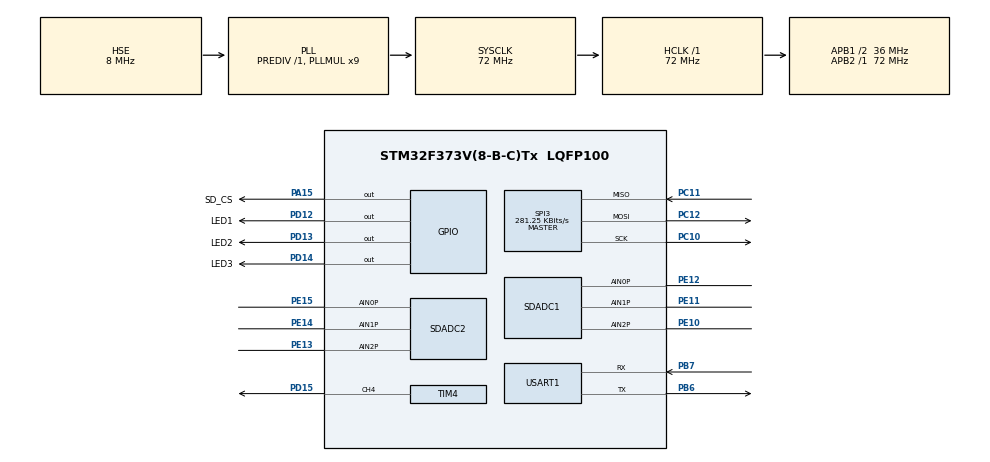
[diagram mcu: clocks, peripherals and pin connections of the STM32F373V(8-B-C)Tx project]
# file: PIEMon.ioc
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Dma.Request0=SDADC1
Dma.Request1=SDADC2
Dma.SDADC1.0.Direction=DMA_PERIPH_TO_MEMORY
Dma.SDADC1.0.Instance=DMA2_Channel3
Dma.SDADC1.0.MemDataAlignment=DMA_MDATAALIGN_HALFWORD
Dma.SDADC1.0.MemInc=DMA_MINC_ENABLE
Dma.SDADC1.0.Mode=DMA_CIRCULAR
Dma.SDADC1.0.PeriphDataAlignment=DMA_PDATAALIGN_HALFWORD
Dma.SDADC1.0.PeriphInc=DMA_PINC_DISABLE
Dma.SDADC1.0.Priority=DMA_PRIORITY_HIGH
Dma.SDADC2.1.Direction=DMA_PERIPH_TO_MEMORY
Dma.SDADC2.1.Instance=DMA2_Channel4
Dma.SDADC2.1.MemDataAlignment=DMA_MDATAALIGN_HALFWORD
Dma.SDADC2.1.MemInc=DMA_MINC_ENABLE
Dma.SDADC2.1.Mode=DMA_CIRCULAR
Dma.SDADC2.1.PeriphDataAlignment=DMA_PDATAALIGN_HALFWORD
Dma.SDADC2.1.PeriphInc=DMA_PINC_DISABLE
Dma.SDADC2.1.Priority=DMA_PRIORITY_LOW
Mcu.Family=STM32F3
Mcu.Name=STM32F373V(8-B-C)Tx
Mcu.Package=LQFP100
NVIC.DMA2_Channel3_IRQn=true\:0\:0\:false\:false\:true\:false\:true
NVIC.DMA2_Channel4_IRQn=true\:0\:0\:false\:false\:true\:false\:true
NVIC.PriorityGroup=NVIC_PRIORITYGROUP_4
PA13.Mode=Serial_Wire
PA13.Signal=SYS_JTMS-SWDIO
PA14.Mode=Serial_Wire
PA14.Signal=SYS_JTCK-SWCLK
PA15.GPIO_Label=SD_CS
PA15.Signal=GPIO_Output
PB6.Mode=Asynchronous
PB6.Signal=USART1_TX
PB7.Mode=Asynchronous
PB7.Signal=USART1_RX
PC10.Mode=Full_Duplex_Master
PC10.Signal=SPI3_SCK
PC11.Mode=Full_Duplex_Master
PC11.Signal=SPI3_MISO
PC12.Mode=Full_Duplex_Master
PC12.Signal=SPI3_MOSI
PC14-OSC32_IN.Mode=LSE-External-Oscillator
PC14-OSC32_IN.Signal=RCC_OSC32_IN
PC15-OSC32_OUT.Mode=LSE-External-Oscillator
PC15-OSC32_OUT.Signal=RCC_OSC32_OUT
PD12.GPIO_Label=LED1
PD12.Signal=GPIO_Output
PD13.GPIO_Label=LED2
PD13.Signal=GPIO_Output
PD14.GPIO_Label=LED3
PD14.Signal=GPIO_Output
PD15.Signal=S_TIM4_CH4
PE10.Mode=IN2-Single-Ended zero reference
PE10.Signal=SDADC1_AIN2P
PE11.Mode=IN1-Single-Ended zero reference
PE11.Signal=SDADC1_AIN1P
PE12.Mode=IN0-Single-Ended zero reference
PE12.Signal=SDADC1_AIN0P
PE13.Mode=IN2-Single-Ended zero reference
PE13.Signal=SDADC2_AIN2P
PE14.Mode=IN1-Single-Ended zero reference
PE14.Signal=SDADC2_AIN1P
PE15.Mode=IN0-Single-Ended zero reference
PE15.Signal=SDADC2_AIN0P
PF0-OSC_IN.Mode=HSE-External-Oscillator
PF0-OSC_IN.Signal=RCC_OSC_IN
PF1-OSC_OUT.Mode=HSE-External-Oscillator
PF1-OSC_OUT.Signal=RCC_OSC_OUT
ProjectManager.HeapSize=0x200
ProjectManager.StackSize=0x400
ProjectManager.TargetToolchain=STM32CubeIDE
RCC.AHBFreq_Value=72000000
RCC.APB1CLKDivider=RCC_HCLK_DIV2
RCC.APB1Freq_Value=36000000
RCC.APB1TimFreq_Value=72000000
RCC.APB2Freq_Value=72000000
RCC.APB2TimFreq_Value=72000000
RCC.CortexFreq_Value=72000000
RCC.HCLKFreq_Value=72000000
RCC.HSE_VALUE=8000000
RCC.HSI_VALUE=8000000
RCC.PLLMUL=RCC_PLL_MUL9
RCC.PLLSourceVirtual=RCC_PLLSOURCE_HSE
RCC.SDADCPresc=RCC_SDADCSYSCLK_DIV12
RCC.SYSCLKFreq_VALUE=72000000
RCC.SYSCLKSource=RCC_SYSCLKSOURCE_PLLCLK
RCC.USBFreq_Value=72000000
SDADC1.EnableInjectedConversion=ENABLE
SDADC1.InjNumberOfConversion=3
SDADC1.InjectedChannel-1\#ChannelInjectedConversion=SDADC_CHANNEL_0
SDADC1.InjectedChannel-4\#ChannelInjectedConversion=SDADC_CHANNEL_1
SDADC1.InjectedChannel-5\#ChannelInjectedConversion=SDADC_CHANNEL_2
SDADC1.InjectedChannelsSelection=SDADC_CHANNEL_0|SDADC_CHANNEL_1|SDADC_CHANNEL_2
SDADC1.InjectedConfIndex-1\#ChannelInjectedConversion=SDADC_CONF_INDEX_0
SDADC1.InjectedConfIndex-4\#ChannelInjectedConversion=SDADC_CONF_INDEX_0
SDADC1.InjectedConfIndex-5\#ChannelInjectedConversion=SDADC_CONF_INDEX_0
SDADC1.InjectedContinuousMode=SDADC_CONTINUOUS_CONV_OFF
SDADC1.InjectedExtTrigger=SDADC_EXT_TRIG_TIM19_CC2
SDADC1.InjectedRank-1\#ChannelInjectedConversion=1
SDADC1.InjectedRank-4\#ChannelInjectedConversion=2
SDADC1.InjectedRank-5\#ChannelInjectedConversion=3
SDADC1.InjectedTrigger=SDADC_EXTERNAL_TRIGGER
SDADC1.InputMode0=SDADC_INPUT_MODE_SE_ZERO_REFERENCE
SDADC1.NbrOfConversionFlag=1
SDADC2.EnableInjectedConversion=ENABLE
SDADC2.InjNumberOfConversion=3
SDADC2.InjectedChannel-1\#ChannelInjectedConversion=SDADC_CHANNEL_0
SDADC2.InjectedChannel-2\#ChannelInjectedConversion=SDADC_CHANNEL_1
SDADC2.InjectedChannel-3\#ChannelInjectedConversion=SDADC_CHANNEL_2
SDADC2.InjectedChannelsSelection=SDADC_CHANNEL_0|SDADC_CHANNEL_1|SDADC_CHANNEL_2
SDADC2.InjectedConfIndex-1\#ChannelInjectedConversion=SDADC_CONF_INDEX_0
SDADC2.InjectedConfIndex-2\#ChannelInjectedConversion=SDADC_CONF_INDEX_0
SDADC2.InjectedConfIndex-3\#ChannelInjectedConversion=SDADC_CONF_INDEX_0
SDADC2.InjectedExtTrigger=SDADC_EXT_TRIG_TIM19_CC3
SDADC2.InjectedRank-1\#ChannelInjectedConversion=1
SDADC2.InjectedRank-2\#ChannelInjectedConversion=2
SDADC2.InjectedRank-3\#ChannelInjectedConversion=3
SDADC2.InjectedTrigger=SDADC_EXTERNAL_TRIGGER
SDADC2.InputMode0=SDADC_INPUT_MODE_SE_ZERO_REFERENCE
SDADC2.NbrOfConversionFlag=1
SH.S_TIM4_CH4.0=TIM4_CH4,PWM Generation4 CH4
SPI3.BaudRatePrescaler=SPI_BAUDRATEPRESCALER_128
SPI3.CalculateBaudRate=281.25 KBits/s
SPI3.DataSize=SPI_DATASIZE_8BIT
SPI3.Direction=SPI_DIRECTION_2LINES
SPI3.Mode=SPI_MODE_MASTER
SPI3.VirtualType=VM_MASTER
TIM19.Channel-Output\ Compare2\ No\ Output=TIM_CHANNEL_2
TIM19.Channel-Output\ Compare3\ No\ Output=TIM_CHANNEL_3
TIM19.OCMode_2=TIM_OCMODE_TOGGLE
TIM19.OCMode_3=TIM_OCMODE_TOGGLE
TIM19.Period=14400
TIM19.Prescaler=0
TIM19.Pulse-Output\ Compare2\ No\ Output=1
TIM19.Pulse-Output\ Compare3\ No\ Output=1
TIM4.Channel-PWM\ Generation4\ CH4=TIM_CHANNEL_4
TIM4.Period=10000
TIM4.Prescaler=7200
TIM4.Pulse-PWM\ Generation4\ CH4=5000
USART1.VirtualMode-Asynchronous=VM_ASYNC
VP_FATFS_VS_Generic.Mode=User_defined
VP_SDADC1_CONF0.Mode=ConfigZero
VP_SDADC2_CONF0.Mode=ConfigZero
VP_TIM19_VS_ClockSourceINT.Mode=Internal
VP_TIM19_VS_no_output2.Mode=Output Compare2 No Output
VP_TIM19_VS_no_output3.Mode=Output Compare3 No Output
VP_TIM4_VS_ClockSourceINT.Mode=Internal
board=custom

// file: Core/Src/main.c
/* USER CODE BEGIN Header */
/**
  ******************************************************************************
  * @file           : main.c
  * @brief          : Main program body
  ******************************************************************************
  * @attention
  *
  * <h2><center>&copy; Copyright (c) 2021 STMicroelectronics.
  * All rights reserved.</center></h2>
  *
  * This software component is licensed by ST under BSD 3-Clause license,
  * the "License"; You may not use this file except in compliance with the
  * License. You may obtain a copy of the License at:
  *                        opensource.org/licenses/BSD-3-Clause
  *
  ******************************************************************************
  */
/* USER CODE END Header */
#include "main.h"
#include "dma.h"
#include "fatfs.h"
#include "sdadc.h"
#include "spi.h"
#include "tim.h"
#include "usart.h"
#include "gpio.h"

/* USER CODE BEGIN Includes */
#include "math.h"
#include "stdbool.h"
#include "string.h"
#include <stdio.h>
#include <stdarg.h> //for va_list var arg functions
/* USER CODE END Includes */

/* USER CODE BEGIN PD */

#define ADCTIMERFREQUENCY 72000000 // Clock speed of the STM32F373 in Hz
#define SUPPLYFREQUENCY 50 // Frequency of the supply in Hz
#define PLLLOCKCOUNT 20 // Number of samples for PLL to be considered locked ~ 4 seconds. N.B--Less than 255
#define PIDKP 3 // PID KP
#define PIDKI 1 // PID KI
#define PIDKD 0 // PID KD
#define ADCOFFSET 32768 // Half of the 16 bits range that the sdadc has
#define ADCVOLTS 3.3
#define LOOPCYCLES 250 // Cycles to complete before sending data
#define VCAL 271 // Calculated value is 2 710 000 / 10 000 = 271 for resistor divider
#define ICAL 90.65 // Calculated value is 100A:0.1A for transformer / 11 Ohms for resistor = 91

/* USER CODE END PD */

/* USER CODE BEGIN PM */

#define constrain(amt,low,high) ((amt)<(low)?(low):((amt)>(high)?(high):(amt)))

//#define max(a,b) \
//   ({ __typeof__ (a) _a = (a); \
//       __typeof__ (b) _b = (b); \
//     _a > _b ? _a : _b; })
//#define min(a,b) \
//   ({ __typeof__ (a) _a = (a); \
//       __typeof__ (b) _b = (b); \
//     _a < _b ? _a : _b; })

// Calculated constants (at compile time)
#define PLLTIMERAVG (ADCTIMERFREQUENCY/(SAMPLESPERCYCLE*SUPPLYFREQUENCY*2)) // The Timer19 reload value, the two is because the output compare toggles
#define PLLTIMERMIN (PLLTIMERAVG*0.8) // Minimum Timer 1 value to start next set of measurements
#define PLLTIMERMAX (PLLTIMERAVG*1.2) // Minimum Timer 1 value to start next set of measurements
#define PLLLOCKRANGE 0.5 // The PLL needs to be within 0.5 samples from the setpoint (+/- 1% timing accuracy @ 50 samples per cycle)

#define PIDK1 (PIDKP + PIDKI + PIDKD) // PID K1
#define PIDK2 (-1*PIDKP - 2*PIDKD) // PID K2
#define PIDK3 (PIDKD) // PID K3

#define VRATIO ((VCAL*ADCVOLTS)/(2^16))
#define IRATIO ((ICAL*ADCVOLTS)/(2^16))
#define LOOPSAMPLES (LOOPCYCLES*SAMPLESPERCYCLE) // Number of samples per transmit cycle.

/* USER CODE END PM */

/* USER CODE BEGIN PV */

typedef struct channel_
{
    int64_t sum_P_import; // In W
    int64_t sum_P_export; // In W
    uint64_t sum_V_sq; // In V2
    uint64_t sum_I_sq; // In A2
    int32_t sum_V; // In V
    int32_t sum_I; // In A
    uint32_t sum_timer; // In counts
} channel_t;

typedef struct vipf_
{
    float Vrms; // In V
    float Irms; // In A
    float realpower_import; // In W
    float realpower_export; // In W
    float apparentpower; // In VA
    float power_factor; // Factor
    float frequency; // In Hz
    float time; // In s
    float units_import; // In Wh
    float units_export; // In Wh
    float import_counter; // In Wh
    float export_counter; // In Wh

} vipf_t;

channel_t channels[NUMCHANNELS];
channel_t channels_cycle[NUMCHANNELS];
channel_t channels_loop[NUMCHANNELS];
vipf_t channels_vipf[NUMCHANNELS];

uint8_t pllunlocked = PLLLOCKCOUNT;
uint16_t timercount = PLLTIMERAVG;
uint16_t prevtimercount = PLLTIMERAVG;
bool newcycle = false;
uint16_t cyclecount = 0;
uint8_t pwm_mode = 0; // 0 for pwm, 1 for

/* USER CODE END PV */

void SystemClock_Config(void);

/* USER CODE BEGIN 0 */
void uartprintf(const char *fmt, ...) {
    static char buffer[256];
    va_list args;
    va_start(args, fmt);
    vsnprintf(buffer, sizeof(buffer), fmt, args);
    va_end(args);

    int len = strlen(buffer);
    HAL_UART_Transmit(&huart1, (uint8_t*)buffer, len, -1);

}

void pllcalcs(uint16_t offset){

    // PID Controller for the phase locked loop, only update on completion of cycle
    // This is first so that the timer can be updated as soon as possible
    static float e0, e1, e2;
    if (offset == SDADC1_DMA_BUFFSIZE/2){
        e2 = e1;
        e1 = e0;
        int32_t last_reading = sdadc1_dma_buff[SDADC1_DMA_BUFFSIZE-1];
        int32_t second_last_reading = sdadc1_dma_buff[SDADC1_DMA_BUFFSIZE-2];
        // Do interpolation or extrapolation to determine how much the timer needs to adjust
        e0 = (last_reading - ADCOFFSET) / ((float)second_last_reading - last_reading);
        e0 = (last_reading > second_last_reading) ? e0 : e0 + (SAMPLESPERCYCLE / 2);
        e0 = constrain(e0, -SAMPLESPERCYCLE, SAMPLESPERCYCLE);

        // Calculate the new timer value
        prevtimercount = timercount;
        timercount += (e0 * PIDK1 + e1 * PIDK2 + e2 * PIDK3);
        timercount = constrain(timercount, PLLTIMERMIN, PLLTIMERMAX);

        // Check if PLL is in lock range and decrement the counter if it is, otherwise set counter to max
        if (e0 > PLLLOCKRANGE){
            pllunlocked = PLLLOCKCOUNT;
        } else if (pllunlocked) {
            pllunlocked--;
        }
        // Update the timer
        __HAL_TIM_SET_AUTORELOAD(&htim19, timercount);
    }

    // Loop through the buffer and save the data
    // Assign variables needed for the calculations
    int32_t sample_V, sample_I, signed_V, signed_I;
    // Cycle through the channels
    for (int n = 0; n < NUMCHANNELS; n++){
        // Cycle through all the data in the buffer for the current channel
        for (int i = 0; i < SDADC1_DMA_BUFFSIZE/2 ; i += NUMCHANNELS ){

            // ----------------------------------------
            // Voltage
            sample_V = sdadc1_dma_buff[offset + i + n];
            signed_V = sample_V - ADCOFFSET;
            channels[n].sum_V += signed_V;
            channels[n].sum_V_sq += signed_V * signed_V;
            // ----------------------------------------
            // Current
            sample_I = sdadc2_dma_buff[offset + i + n];
            signed_I = sample_I - ADCOFFSET;
            channels[n].sum_I += signed_I;
            channels[n].sum_I_sq += signed_I * signed_I;
            // ----------------------------------------
            // Power
            channels[n].sum_P_import += signed_V * signed_I;
            // ----------------------------------------
            // Sample Count
            channels[n].sum_timer += prevtimercount;
        }
    }

    // If this is the second half of the buffer the data needs to be copied to the cycle stuct
    if (offset == SDADC1_DMA_BUFFSIZE/2){
        // Copy accumulators for use in main loop
        memcpy(&channels_cycle, &channels, sizeof(channels));
        // Reset the accumulators
        memset(&channels, 0, sizeof(channels));
        newcycle = true;
    }

}

void addcycle () {

    newcycle = false;
    for (int n = 0; n < NUMCHANNELS; n++) {
        channels_loop[n].sum_V += channels_cycle[n].sum_V;
        channels_loop[n].sum_V_sq += channels_cycle[n].sum_V_sq;
        channels_loop[n].sum_I += channels_cycle[n].sum_I;
        channels_loop[n].sum_I_sq += channels_cycle[n].sum_I_sq;
        if (channels_cycle[n].sum_P_import > 0) {
            channels_loop[n].sum_P_import += channels_cycle[n].sum_P_import;
        } else {
            channels_loop[n].sum_P_export -= channels_cycle[n].sum_P_import;
        }
        channels_loop[n].sum_timer += channels_cycle[n].sum_timer;
    }
    // Reset the cycle accumulators
    memset(&channels_cycle, 0, sizeof(channels_cycle));
    cyclecount++;
}

void calculateVIPF(){
    float old_cyclecount = cyclecount;
    cyclecount = 0;
    for (int n = 0; n < NUMCHANNELS; n++) {
        channels_vipf[n].Vrms = VRATIO * sqrtf(((float)channels_loop[n].sum_V_sq) / LOOPSAMPLES);
        channels_vipf[n].Irms = IRATIO * sqrtf(((float)channels_loop[n].sum_I_sq) / LOOPSAMPLES);
        channels_vipf[n].realpower_import = VRATIO * IRATIO * (float)channels_loop[n].sum_P_import / LOOPSAMPLES;
        channels_vipf[n].realpower_export = VRATIO * IRATIO * (float)channels_loop[n].sum_P_export / LOOPSAMPLES;
        channels_vipf[n].apparentpower = channels_vipf[n].Vrms * channels_vipf[n].Irms;
        channels_vipf[n].power_factor = (channels_vipf[n].realpower_import + channels_vipf[n].realpower_export) / channels_vipf[n].apparentpower;
        // The doubling is because the adc only converts once every two times that the timer cycles
        // The addition of LOOPSAMPLES is because the timer is zero referenced
        channels_vipf[n].time = (((float)channels_loop[n].sum_timer + LOOPSAMPLES) * 2) / ADCTIMERFREQUENCY;
        channels_vipf[n].frequency = old_cyclecount / channels_vipf[n].time;
        channels_vipf[n].units_import = (channels_vipf[n].realpower_import * channels_vipf[n].time) / 3.6;
        channels_vipf[n].units_export = (channels_vipf[n].realpower_export * channels_vipf[n].time) / 3.6;
        channels_vipf[n].import_counter += channels_vipf[n].units_import;
        channels_vipf[n].export_counter += channels_vipf[n].units_export;
    }
    // Reset the loop accumulators
    memset(&channels_loop, 0, sizeof(channels_cycle));
}

void storeresults(){
    // some variables for FatFs
    FATFS FatFs; 	//Fatfs handle
    FIL fil; 		//File handle
    volatile FRESULT fres; //Result after operations
    UINT bytesWrote;
    char filename[20];

    // Open the file system
    f_mount(&FatFs, "", 1); //1=mount now

    for (int n = 0; n < NUMCHANNELS; n++){
        // Generate the filename
        sprintf(filename, "Channel%i", n);

        //Now let's try and write a file
        fres = f_open(&fil, filename, FA_WRITE | FA_OPEN_ALWAYS);
        if(fres == FR_OK) {
            uartprintf("I was able to open 'write.txt' for writing\r\n");
        } else {
            uartprintf("f_open error (%i)\r\n", fres);
        }
        // Go to the end of the file so we can append
        f_lseek(&fil, f_size(&fil));

        char writebuff[500];
        sprintf(writebuff, "%.2f,",channels_vipf[n].Vrms);
        sprintf(writebuff + strlen(writebuff), "%.2f,",channels_vipf[n].Irms);
        sprintf(writebuff + strlen(writebuff), "%.2f,",channels_vipf[n].realpower_import);
        sprintf(writebuff + strlen(writebuff), "%.2f,",channels_vipf[n].realpower_export);
        sprintf(writebuff + strlen(writebuff), "%.2f,",channels_vipf[n].apparentpower);
        sprintf(writebuff + strlen(writebuff), "%.2f,",channels_vipf[n].power_factor);
        sprintf(writebuff + strlen(writebuff), "%.2f,",channels_vipf[n].time);
        sprintf(writebuff + strlen(writebuff), "%.2f,",channels_vipf[n].frequency);
        sprintf(writebuff + strlen(writebuff), "%.6f,",channels_vipf[n].units_import);
        sprintf(writebuff + strlen(writebuff), "%.6f,",channels_vipf[n].units_export);
        sprintf(writebuff + strlen(writebuff), "%.6f,",channels_vipf[n].import_counter);
        sprintf(writebuff + strlen(writebuff), "%.6f\r\n",channels_vipf[n].export_counter);

        fres = f_write(&fil, writebuff, strlen(writebuff), &bytesWrote);
        if(fres == FR_OK) {
            uartprintf("Wrote %i bytes to 'write.txt'!\r\n", bytesWrote);
        } else {
            uartprintf("f_write error (%i)\r\n");
        }

        // Close the file when done
        f_close(&fil);
    }

    // We're done, so de-mount the drive
    f_mount(NULL, "", 0);

}

void updatePWM(){

}

/* USER CODE END 0 */

int main(void)
{

  /* MCU Configuration--------------------------------------------------------*/

  /* Reset of all peripherals, Initializes the Flash interface and the Systick. */
  HAL_Init();

  /* Configure the system clock */
  SystemClock_Config();

  /* Initialize all configured peripherals */
  MX_GPIO_Init();
  MX_DMA_Init();
  MX_SDADC1_Init();
  MX_TIM19_Init();
  MX_SDADC2_Init();
  MX_TIM4_Init();
  MX_USART1_UART_Init();
  MX_SPI3_Init();
  MX_FATFS_Init();
  /* USER CODE BEGIN 2 */
    start_SDADCs();
    HAL_TIM_PWM_Start(&htim4,TIM_CHANNEL_4);

  /* USER CODE END 2 */

  /* Infinite loop */
  /* USER CODE BEGIN WHILE */
  while (1)
  {
      // Calculate averages and transmit data to base station
      // Ensure this can run constantly or the process will fail. DO NOT ADD BLOCKING CODE TO THIS WHILE LOOP
      if (newcycle) {
          addcycle();
      }
      if (cyclecount >= LOOPCYCLES){
          calculateVIPF();
          storeresults();
          HAL_GPIO_TogglePin(LED2_GPIO_Port, LED2_Pin);
      }
    /* USER CODE END WHILE */

  }
}

void SystemClock_Config(void)
{
  RCC_OscInitTypeDef RCC_OscInitStruct = {0};
  RCC_ClkInitTypeDef RCC_ClkInitStruct = {0};
  RCC_PeriphCLKInitTypeDef PeriphClkInit = {0};

  /** Initializes the RCC Oscillators according to the specified parameters
  * in the RCC_OscInitTypeDef structure.
  */
  RCC_OscInitStruct.OscillatorType = RCC_OSCILLATORTYPE_HSE;
  RCC_OscInitStruct.HSEState = RCC_HSE_ON;
  RCC_OscInitStruct.HSEPredivValue = RCC_HSE_PREDIV_DIV1;
  RCC_OscInitStruct.HSIState = RCC_HSI_ON;
  RCC_OscInitStruct.PLL.PLLState = RCC_PLL_ON;
  RCC_OscInitStruct.PLL.PLLSource = RCC_PLLSOURCE_HSE;
  RCC_OscInitStruct.PLL.PLLMUL = RCC_PLL_MUL9;
  if (HAL_RCC_OscConfig(&RCC_OscInitStruct) != HAL_OK)
  {
    Error_Handler();
  }
  /** Initializes the CPU, AHB and APB buses clocks
  */
  RCC_ClkInitStruct.ClockType = RCC_CLOCKTYPE_HCLK|RCC_CLOCKTYPE_SYSCLK
                              |RCC_CLOCKTYPE_PCLK1|RCC_CLOCKTYPE_PCLK2;
  RCC_ClkInitStruct.SYSCLKSource = RCC_SYSCLKSOURCE_PLLCLK;
  RCC_ClkInitStruct.AHBCLKDivider = RCC_SYSCLK_DIV1;
  RCC_ClkInitStruct.APB1CLKDivider = RCC_HCLK_DIV2;
  RCC_ClkInitStruct.APB2CLKDivider = RCC_HCLK_DIV1;

  if (HAL_RCC_ClockConfig(&RCC_ClkInitStruct, FLASH_LATENCY_2) != HAL_OK)
  {
    Error_Handler();
  }
  PeriphClkInit.PeriphClockSelection = RCC_PERIPHCLK_USART1|RCC_PERIPHCLK_SDADC;
  PeriphClkInit.Usart1ClockSelection = RCC_USART1CLKSOURCE_PCLK2;
  PeriphClkInit.SdadcClockSelection = RCC_SDADCSYSCLK_DIV12;
  if (HAL_RCCEx_PeriphCLKConfig(&PeriphClkInit) != HAL_OK)
  {
    Error_Handler();
  }
  HAL_PWREx_EnableSDADC(PWR_SDADC_ANALOG1);
  HAL_PWREx_EnableSDADC(PWR_SDADC_ANALOG2);
}

void Error_Handler(void)
{
  __disable_irq();
  while (1)
  {
  }
}

/************************ (C) COPYRIGHT STMicroelectronics *****END OF FILE****/
